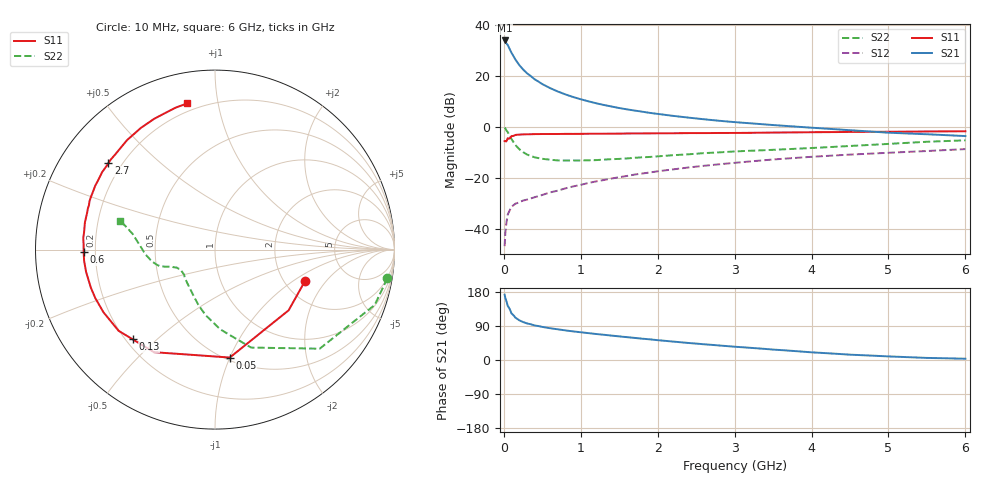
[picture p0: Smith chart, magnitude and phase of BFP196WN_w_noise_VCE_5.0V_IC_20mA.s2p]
! Infineon Technologies  Discrete & RF Semiconductors
! BFP196WN
! VCE =  5.0 V,  IC =  20 mA
! Common Emitter S-Parameters:  Jan 2017
# GHz  S  MA  R  50
!  f  S11  S21  S12  S22
! GHz  MAG  ANG  MAG  ANG  MAG  ANG  MAG  ANG
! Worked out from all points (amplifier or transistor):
!   77 points, 10 MHz to 6 GHz, reference 50 ohm
!   highest |S21| = 34.0 dB at 10 MHz (marker M1)
!   |S21| within 3 dB of that: start of sweep to 70.05 MHz
!   unconditionally stable (mu >= 1): 911 MHz to 2.673 GHz
!   at 130 MHz: K = 0.31, MSG = 29.1 dB, |S12| = -30.5 dB
!   at 2.2 GHz: K = 1.03, MAG = 9.4 dB, |S12| = -16.6 dB
!   at 6 GHz: K = 0.89, MSG = 2.6 dB, |S12| = -8.6 dB
!   lowest NFmin = 0.96 dB at 450 MHz
!   S11 on the Smith chart (normalised r, x): 10 MHz: 2.57, -1.25; 50 MHz: 0.52, -1.00; 130 MHz: 0.23, -0.42; 600 MHz: 0.15, -0.01; 2.7 GHz: 0.15, +0.35; 6 GHz: 0.16, +0.82
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0.01  0.5312 -19.2  50.23 172.4  0.0046 84.9  0.9732 -9.5
0.02  0.5317 -39.5  47.89 163.5  0.0085 74.4  0.9419 -19.1
0.05  0.607 -82.2  41.02 143.1  0.019 59.3  0.8032 -43.4
0.1  0.6652 -120.8  28.65 122.7  0.0273 47.2  0.5816 -69.8
0.13  0.6784 -132.5  24.1 117.0  0.0297 42.9  0.4948 -78.6
0.15  0.7022 -139.9  21.25 111.8  0.0314 40.4  0.4454 -86.2
0.2  0.7128 -150.7  16.56 104.9  0.0333 39.8  0.3698 -98.0
0.25  0.7196 -157.9  13.53 100.1  0.0362 40.9  0.3232 -106.4
0.3  0.7235 -163.0  11.42 96.6  0.0377 41.1  0.2899 -113.4
0.4  0.7289 -170.2  8.69 91.2  0.042 45.5  0.2554 -123.7
0.5  0.7319 -175.1  6.984 87.3  0.0466 48.2  0.2387 -131.5
0.6  0.7319 -178.9  5.843 83.9  0.0522 51.1  0.2292 -137.3
0.7  0.7325 177.9  5.006 81.0  0.0566 53.9  0.2218 -141.1
0.8  0.7367 175.0  4.389 78.1  0.0627 56.6  0.2209 -143.9
1.1  0.7403 168.2  3.204 70.9  0.0801 59.4  0.223 -150.5
1.5  0.7446 160.6  2.369 62.3  0.1039 61.2  0.2376 -155.4
2.1  0.7566 150.3  1.738 50.5  0.1418 60.8  0.2736 -159.6
2.7  0.7648 141.0  1.378 40.0  0.1801 58.3  0.3136 -162.7
3.1  0.77 134.8  1.22 33.7  0.2053 55.9  0.338 -166.0
4.1  0.7951 120.0  0.952 19.1  0.2666 48.6  0.3956 -178.0
5.1  0.8125 108.7  0.766 8.7  0.3184 41.3  0.4774 168.3
6  0.8292 100.7  0.667 3.4  0.3698 35.2  0.5505 163.2
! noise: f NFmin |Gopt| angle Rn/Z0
0.45  0.96  0.4  169  0.05
0.9  1.1  0.5  179  0.05
1.9  2.1  0.69  210  0.12
2.4  2.86  0.7  216  0.23
